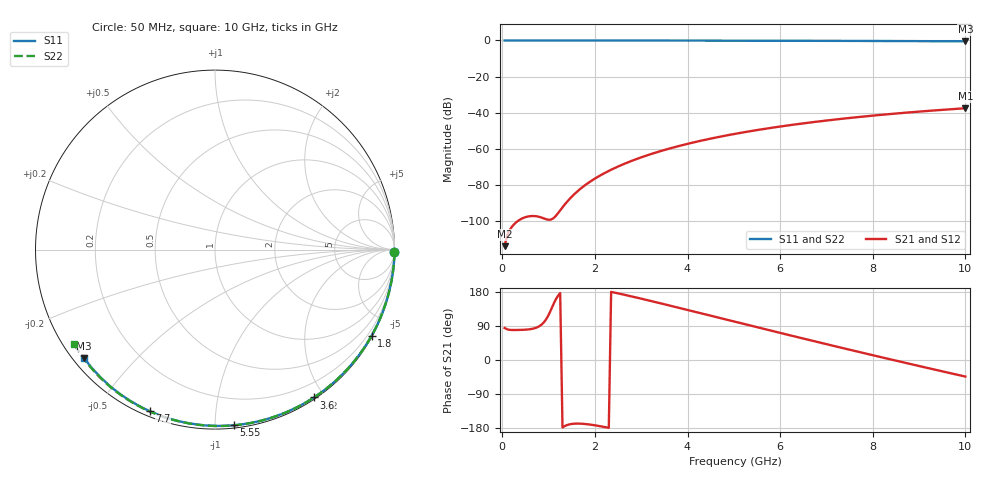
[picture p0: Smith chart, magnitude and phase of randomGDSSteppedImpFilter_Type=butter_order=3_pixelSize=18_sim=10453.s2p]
! freq	dB(S11)	phase(S11)	dB(S12)	phase(S12)
!  dB(S21)	phase(S21)	dB(S22)	phase(S22)
!S-par simulation data
#  GHz  S  DB  R 50
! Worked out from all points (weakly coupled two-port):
!   200 points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, 50 MHz to 10 GHz, reference 50 ohm
!   highest |S21| = -37.57 dB at 10 GHz (marker M1); lowest = -114.0 dB at 50 MHz (marker M2)
!   lowest |S11| = -0.5 dB at 10 GHz (marker M3), VSWR 36.57, Z = 1.54 - j18 ohm
!   |S11| at or under -10 dB: nowhere
!   |S22| runs from -0.5 to 0.0 dB; largest |S21 - S12| = 0
!   S11 on the Smith chart (normalised r, x): 50 MHz: open; 1.8 GHz: 0.03, -3.90; 3.6 GHz: 0.02, -1.87; 5.55 GHz: 0.02, -1.11; 7.7 GHz: 0.02, -0.68; 10 GHz: 0.03, -0.36
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0.05  -0.00 -0.8  -114.01 84.6  -114.01 84.6  -0.00 -0.9
0.45  -0.01 -7.3  -98.40 79.6  -98.40 79.6  -0.01 -7.6
0.9  -0.02 -14.5  -98.64 99.7  -98.64 99.7  -0.02 -15.2
1.3  -0.03 -20.9  -92.48 -178.1  -92.48 -178.1  -0.03 -21.9
1.75  -0.04 -28.0  -80.94 -168.5  -80.94 -168.5  -0.04 -29.3
1.8  -0.04 -28.8  -79.98 -169.0  -79.98 -169.0  -0.04 -30.1
1.95  -0.04 -31.1  -77.35 -171.4  -77.35 -171.4  -0.04 -32.5
2.1  -0.04 -33.5  -75.04 -174.4  -75.04 -174.4  -0.04 -35.0
2.3  -0.05 -36.6  -72.29 -179.0  -72.29 -179.0  -0.05 -38.2
2.5  -0.05 -39.7  -69.86 175.8  -69.86 175.8  -0.05 -41.4
2.9  -0.06 -45.8  -65.71 164.7  -65.71 164.7  -0.06 -47.8
3.4  -0.07 -53.3  -61.45 150.1  -61.45 150.1  -0.07 -55.6
3.6  -0.08 -56.2  -59.97 144.1  -59.97 144.1  -0.08 -58.7
4.3  -0.09 -66.4  -55.50 123.0  -55.50 123.0  -0.10 -69.2
5.05  -0.12 -77.0  -51.64 100.2  -51.64 100.2  -0.12 -80.2
5.55  -0.14 -83.8  -49.46 85.1  -49.46 85.1  -0.14 -87.4
6.1  -0.16 -91.2  -47.34 68.5  -47.34 68.5  -0.17 -95.0
6.7  -0.19 -99.1  -45.30 50.6  -45.30 50.6  -0.20 -103.2
7.7  -0.26 -111.9  -42.42 21.3  -42.42 21.3  -0.27 -116.5
8.35  -0.31 -120.1  -40.83 2.6  -40.83 2.6  -0.32 -124.9
9.2  -0.39 -130.6  -39.03 -21.5  -39.03 -21.5  -0.40 -135.8
10  -0.48 -140.4  -37.57 -43.8  -37.57 -43.8  -0.49 -146.1
